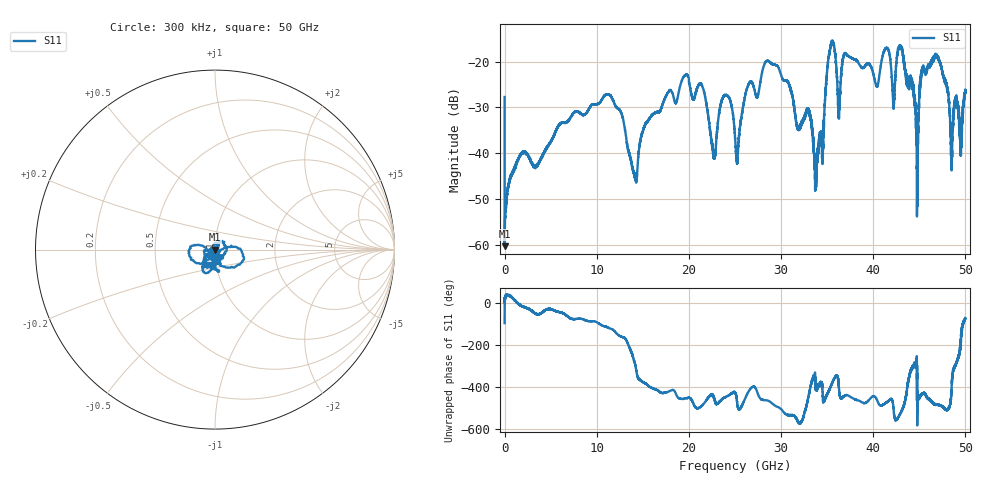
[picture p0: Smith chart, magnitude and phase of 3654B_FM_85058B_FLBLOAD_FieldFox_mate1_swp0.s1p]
!Created with skrf (http://scikit-rf.org).
# Hz S RI R 50.0
!freq ReS11 ImS11
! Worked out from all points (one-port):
!   10001 points, 300 kHz to 50 GHz, reference 50 ohm
!   lowest |S11| = -60.3 dB at 5.3 MHz (marker M1), VSWR 1.00, Z = 50.1 - j0.0687 ohm
!   |S11| at or under -10 dB: start of sweep to end of sweep
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300000  -0.00508 -0.0408
5299970  0.000682 -0.000686
2.552985e8  0.00288 0.00215
6.250262e9  0.0144 -0.0164
1.250022e10  -0.0275 -0.0113
1.416522e10  0.00228 0.00485
1.530521e10  0.0189 -0.00886
1.875019e10  0.00174 -0.0394
2.136517e10  -0.0375 -0.0417
2.271516e10  -0.000221 -0.00894
2.412516e10  0.00273 -0.0426
2.500015e10  0.00617 -0.0137
2.843513e10  -0.0246 -0.0987
3.125011e10  -0.0411 -0.00486
3.30401e10  0.00892 -0.0272
3.38101e10  0.00288 -0.00319
3.542509e10  0.1268 -0.0914
3.627008e10  0.0208 -0.0175
3.750008e10  0.00627 -0.1107
4.149005e10  -0.0528 -0.131
4.220505e10  -0.0295 -0.0176
4.294004e10  -0.1444 -0.0331
4.375004e10  0.06 -0.0349
4.473003e10  -0.00292 0.0102
4.529003e10  0.0209 -0.0783
4.671502e10  -0.0637 -0.102
4.850501e10  0.00457 -0.00565
5e10  0.014 -0.0469
